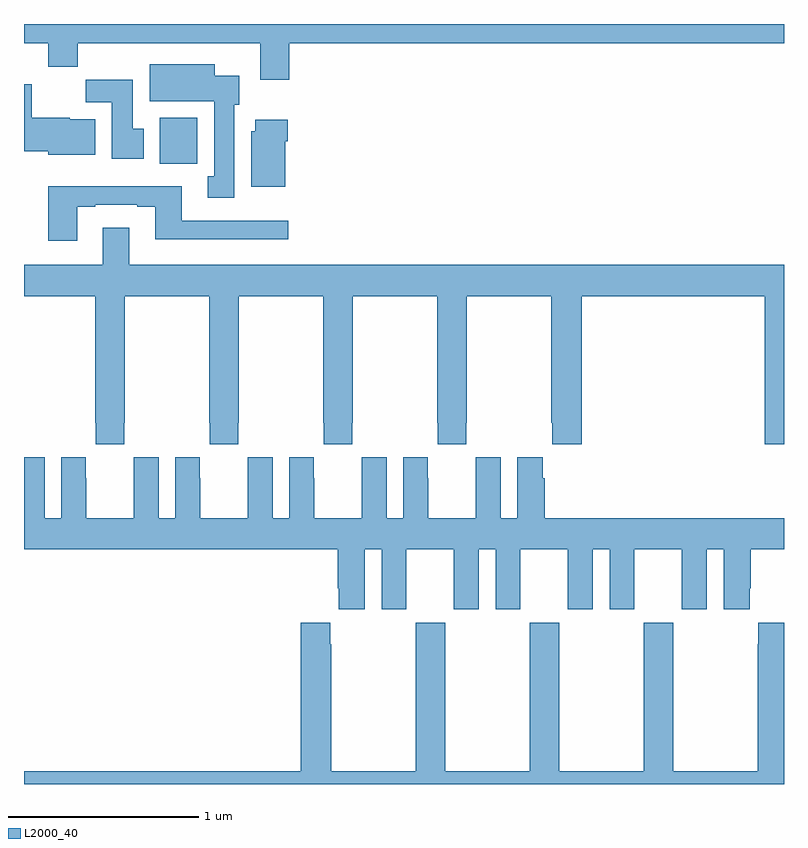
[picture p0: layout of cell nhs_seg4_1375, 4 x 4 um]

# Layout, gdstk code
import gdstk
lib = gdstk.Library(unit=1e-6, precision=1e-09)
def R(c, l, rs):  # rectangles x0, y0, x1, y1
    for r in rs: c.add(gdstk.rectangle(r[:2], r[2:], *l))
def P(c, l, *ps):  # polygons
    for p in ps: c.add(gdstk.Polygon(p, *l))
L2000_40 = (2000, 40)

nhs_seg4_1375 = lib.new_cell('nhs_seg4_1375')
R(nhs_seg4_1375, L2000_40, [(181.715,816.164,181.912,816.406)])
P(nhs_seg4_1375, L2000_40, [(182.396,816.8),(185,816.8),(185,816.9),(181,816.9),(181,816.8),(181.127,816.8),(181.127,816.676),(181.283,816.676),(181.283,816.8),(182.243,816.8),(182.243,816.606),(182.396,816.606)],
  [(182.107,816.474),(182.134,816.474),(182.134,816.628),(182.005,816.628),(182.005,816.688),(181.661,816.688),(181.661,816.494),(182,816.494),(182,816.098),(181.967,816.098),(181.967,815.985),(182.107,815.985)],
  [(181.63,816.348),(181.573,816.348),(181.573,816.606),(181.324,816.606),(181.324,816.488),(181.463,816.488),(181.463,816.192),(181.63,816.192)],
  [(181.375,816.4),(181.242,816.4),(181.242,816.406),(181.042,816.406),(181.042,816.583),(181,816.583),(181,816.23),(181.128,816.23),(181.128,816.212),(181.375,816.212)],
  [(182.374,816.284),(182.387,816.284),(182.387,816.397),(182.216,816.397),(182.216,816.336),(182.195,816.336),(182.195,816.044),(182.374,816.044)],
  [(181.279,815.937),(181.375,815.937),(181.375,815.949),(181.595,815.949),(181.595,815.937),(181.691,815.937),(181.691,815.768),(182.392,815.768),(182.392,815.865),(181.831,815.865),(181.831,816.046),(181.127,816.046),(181.127,815.76),(181.279,815.76)],
  [(181.555,815.827),(181.415,815.827),(181.415,815.632),(181,815.632),(181,815.468),(181.375,815.468),(181.375,814.801),(181.377,814.801),(181.377,814.689),(181.527,814.689),(181.527,814.801),(181.53,814.801),(181.53,815.468),(181.975,815.468),(181.975,814.801),(181.977,814.801),(181.977,814.689),(182.127,814.689),(182.127,814.801),(182.13,814.801),(182.13,815.468),(182.575,815.468),(182.575,814.801),(182.577,814.801),(182.577,814.689),(182.727,814.689),(182.727,814.801),(182.73,814.801),(182.73,815.468),(183.175,815.468),(183.175,814.801),(183.177,814.801),(183.177,814.689),(183.327,814.689),(183.327,814.801),(183.33,814.801),(183.33,815.468),(183.775,815.468),(183.775,814.801),(183.781,814.801),(183.781,814.689),(183.935,814.689),(183.935,815.468),(184.898,815.468),(184.898,814.689),(185,814.689),(185,815.632),(181.555,815.632)],
  [(182.794,814.136),(182.882,814.136),(182.882,813.819),(183.013,813.819),(183.013,814.136),(183.263,814.136),(183.263,813.819),(183.394,813.819),(183.394,814.136),(183.482,814.136),(183.482,813.819),(183.613,813.819),(183.613,814.136),(183.863,814.136),(183.863,813.819),(183.994,813.819),(183.994,814.136),(184.082,814.136),(184.082,813.819),(184.213,813.819),(184.213,814.136),(184.463,814.136),(184.463,813.819),(184.594,813.819),(184.594,814.136),(184.682,814.136),(184.682,813.819),(184.819,813.819),(184.819,813.931),(184.826,813.931),(184.826,814.136),(185,814.136),(185,814.3),(183.74,814.3),(183.74,814.508),(183.73,814.508),(183.73,814.621),(183.596,814.621),(183.596,814.3),(183.508,814.3),(183.508,814.621),(183.378,814.621),(183.378,814.508),(183.377,814.508),(183.377,814.3),(183.127,814.3),(183.127,814.508),(183.126,814.508),(183.126,814.621),(182.996,814.621),(182.996,814.3),(182.908,814.3),(182.908,814.621),(182.778,814.621),(182.778,814.508),(182.777,814.508),(182.777,814.3),(182.527,814.3),(182.527,814.508),(182.526,814.508),(182.526,814.621),(182.396,814.621),(182.396,814.3),(182.308,814.3),(182.308,814.621),(182.178,814.621),(182.178,814.508),(182.177,814.508),(182.177,814.3),(181.927,814.3),(181.927,814.508),(181.926,814.508),(181.926,814.621),(181.796,814.621),(181.796,814.3),(181.708,814.3),(181.708,814.621),(181.578,814.621),(181.578,814.508),(181.577,814.508),(181.577,814.3),(181.327,814.3),(181.327,814.508),(181.326,814.508),(181.326,814.621),(181.196,814.621),(181.196,814.3),(181.108,814.3),(181.108,814.621),(181,814.621),(181,814.136),(182.651,814.136),(182.651,813.931),(182.657,813.931),(182.657,813.819),(182.794,813.819)],
  [(185,813.748),(184.865,813.748),(184.865,813.635),(184.861,813.635),(184.861,812.968),(184.416,812.968),(184.416,813.748),(184.261,813.748),(184.261,812.968),(183.816,812.968),(183.816,813.748),(183.661,813.748),(183.661,812.968),(183.216,812.968),(183.216,813.748),(183.061,813.748),(183.061,812.968),(182.616,812.968),(182.616,813.635),(182.611,813.635),(182.611,813.748),(182.456,813.748),(182.456,812.968),(181,812.968),(181,812.9),(185,812.9)])

lib.write_gds('nhs_seg4_1375.gds')
